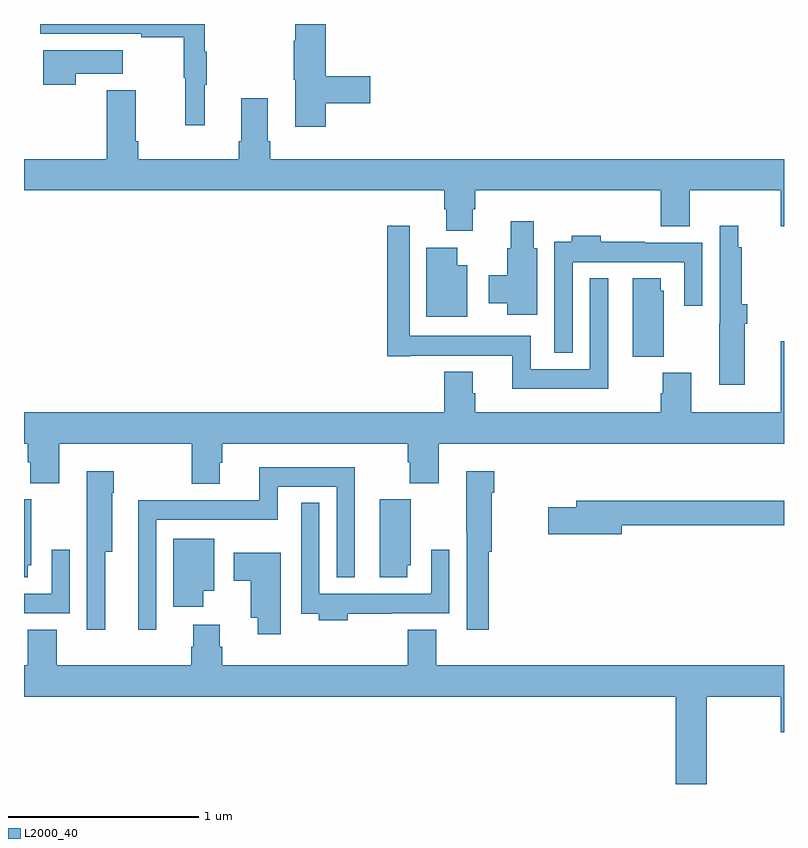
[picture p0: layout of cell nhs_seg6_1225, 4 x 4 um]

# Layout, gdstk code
import gdstk
lib = gdstk.Library(unit=1e-6, precision=1e-09)
def P(c, l, *ps):  # polygons
    for p in ps: c.add(gdstk.Polygon(p, *l))
L2000_40 = (2000, 40)

nhs_seg6_1225 = lib.new_cell('nhs_seg6_1225')
P(nhs_seg6_1225, L2000_40, [(185.951,993.179),(185.962,993.179),(185.962,993.353),(185.951,993.353),(185.951,993.5),(185.085,993.5),(185.085,993.45),(185.617,993.45),(185.617,993.43),(185.841,993.43),(185.841,993.216),(185.848,993.216),(185.848,992.967),(185.951,992.967)],
  [(186.587,993.082),(186.823,993.082),(186.823,993.224),(186.587,993.224),(186.587,993.5),(186.428,993.5),(186.428,993.413),(186.421,993.413),(186.421,993.207),(186.428,993.207),(186.428,992.958),(186.587,992.958)],
  [(185.273,993.239),(185.521,993.239),(185.521,993.361),(185.102,993.361),(185.102,993.18),(185.273,993.18)],
  [(187.363,992.526),(187.376,992.526),(187.376,992.624),(188.351,992.624),(188.351,992.435),(188.503,992.435),(188.503,992.624),(188.984,992.624),(188.984,992.436),(189,992.436),(189,992.788),(186.296,992.788),(186.296,992.884),(186.283,992.884),(186.283,993.109),(186.143,993.109),(186.143,992.884),(186.131,992.884),(186.131,992.788),(185.6,992.788),(185.6,992.884),(185.587,992.884),(185.587,993.151),(185.435,993.151),(185.435,992.788),(185,992.788),(185,992.624),(187.211,992.624),(187.211,992.526),(187.223,992.526),(187.223,992.412),(187.363,992.412)],
  [(187.702,992.319),(187.684,992.319),(187.684,992.461),(187.562,992.461),(187.562,992.319),(187.544,992.319),(187.544,992.178),(187.445,992.178),(187.445,992.03),(187.544,992.03),(187.544,991.971),(187.702,991.971)],
  [(188.074,992.161),(187.977,992.161),(187.977,991.684),(187.668,991.684),(187.668,991.858),(187.029,991.858),(187.029,992.437),(186.913,992.437),(186.913,991.752),(187.036,991.752),(187.036,991.754),(187.571,991.754),(187.571,991.58),(188.074,991.58)],
  [(188.794,991.922),(188.807,991.922),(188.807,992.026),(188.777,992.026),(188.777,992.324),(188.76,992.324),(188.76,992.437),(188.661,992.437),(188.661,991.922),(188.66,991.922),(188.66,991.602),(188.794,991.602)],
  [(187.887,992.246),(188.475,992.246),(188.475,992.016),(188.571,992.016),(188.571,992.35),(188.267,992.35),(188.267,992.353),(188.036,992.353),(188.036,992.386),(187.883,992.386),(187.883,992.353),(187.791,992.353),(187.791,991.769),(187.887,991.769)],
  [(187.333,992.23),(187.279,992.23),(187.279,992.323),(187.118,992.323),(187.118,991.958),(187.333,991.958)],
  [(188.368,992.097),(188.35,992.097),(188.35,992.161),(188.204,992.161),(188.204,991.75),(188.368,991.75)],
  [(186.031,991.191),(186.044,991.191),(186.044,991.292),(187.019,991.292),(187.019,991.193),(187.031,991.193),(187.031,991.084),(187.184,991.084),(187.184,991.292),(189,991.292),(189,991.831),(188.984,991.831),(188.984,991.456),(188.511,991.456),(188.511,991.665),(188.363,991.665),(188.363,991.556),(188.351,991.556),(188.351,991.456),(187.376,991.456),(187.376,991.557),(187.363,991.557),(187.363,991.669),(187.211,991.669),(187.211,991.456),(185,991.456),(185,991.292),(185.021,991.292),(185.021,991.193),(185.033,991.193),(185.033,991.084),(185.186,991.084),(185.186,991.292),(185.884,991.292),(185.884,991.079),(186.031,991.079)],
  [(185.697,990.89),(186.336,990.89),(186.336,991.064),(186.645,991.064),(186.645,990.587),(186.742,990.587),(186.742,991.168),(186.239,991.168),(186.239,990.994),(185.6,990.994),(185.6,990.312),(185.697,990.312)],
  [(185.428,990.722),(185.464,990.722),(185.464,991.034),(185.472,991.034),(185.472,991.147),(185.33,991.147),(185.33,990.826),(185.331,990.826),(185.331,990.312),(185.428,990.312)],
  [(187.445,990.722),(187.462,990.722),(187.462,991.034),(187.475,991.034),(187.475,991.147),(187.328,991.147),(187.328,990.826),(187.329,990.826),(187.329,990.312),(187.445,990.312)],
  [(187.018,990.651),(187.036,990.651),(187.036,990.999),(186.872,990.999),(186.872,990.588),(187.018,990.588)],
  [(185.02,990.651),(185.038,990.651),(185.038,990.999),(185,990.999),(185,990.588),(185.02,990.588)],
  [(188.146,990.862),(189,990.862),(189,990.991),(187.907,990.991),(187.907,990.957),(187.758,990.957),(187.758,990.815),(188.146,990.815)],
  [(186.704,990.396),(186.935,990.396),(186.935,990.398),(187.239,990.398),(187.239,990.733),(187.143,990.733),(187.143,990.502),(186.555,990.502),(186.555,990.979),(186.459,990.979),(186.459,990.396),(186.551,990.396),(186.551,990.362),(186.704,990.362)],
  [(185.944,990.518),(186.001,990.518),(186.001,990.79),(185.786,990.79),(185.786,990.432),(185.944,990.432)],
  [(185.241,990.733),(185.145,990.733),(185.145,990.502),(185,990.502),(185,990.398),(185.241,990.398)],
  [(186.352,990.718),(186.105,990.718),(186.105,990.571),(186.194,990.571),(186.194,990.374),(186.23,990.374),(186.23,990.288),(186.352,990.288)],
  [(188.593,989.96),(188.984,989.96),(188.984,989.772),(189,989.772),(189,990.124),(187.171,990.124),(187.171,990.313),(187.019,990.313),(187.019,990.124),(186.044,990.124),(186.044,990.222),(186.031,990.222),(186.031,990.337),(185.891,990.337),(185.891,990.222),(185.879,990.222),(185.879,990.124),(185.173,990.124),(185.173,990.313),(185.021,990.313),(185.021,990.124),(185,990.124),(185,989.96),(188.429,989.96),(188.429,989.5),(188.593,989.5)])

lib.write_gds('nhs_seg6_1225.gds')
